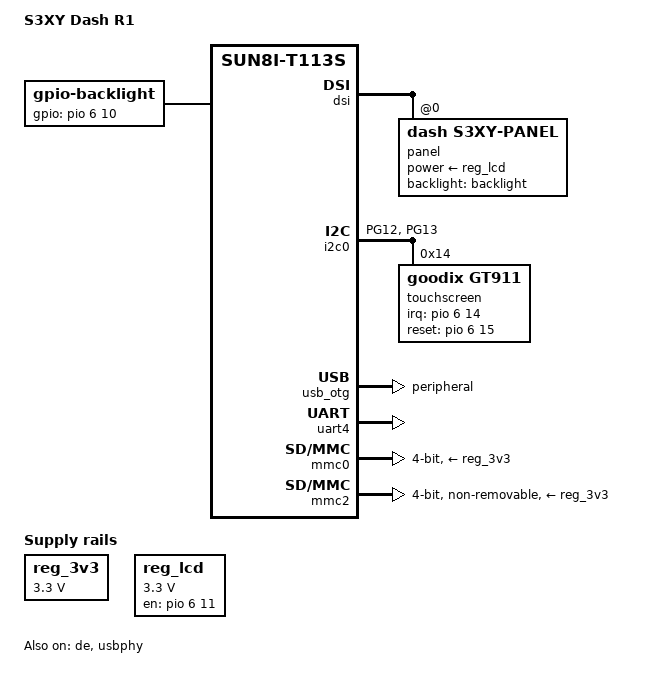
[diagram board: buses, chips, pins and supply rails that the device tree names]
// SPDX-License-Identifier: (GPL-2.0+ OR MIT)
// R1: R0 plus the display (MIPI-DSI panel, backlight), touch and the USB gadget, for the S3XY Dash (T113-S4).
// Display numbers come from the running stock unit (survey display-facts.md); typed by hand. Radios stay off.
// The console UART4 node carries no pinctrl on purpose: the SPL muxes the pins (KCFLAGS -DDASH_U4=n,
// board/dash/patches/uboot), and U-Boot proper and Linux keep them as set. Typed from the survey, not copied.

/dts-v1/;

#include <dt-bindings/gpio/gpio.h>
#include <dt-bindings/interrupt-controller/irq.h>
#include "sun8i-t113s.dtsi"

/ {
	model = "S3XY Dash R1";
	compatible = "dash,s3xy-dash-r1", "allwinner,sun8i-t113s";

	aliases {
		serial0 = &uart4;
		mmc0 = &mmc0;	/* microSD (SMHC0, PF0-PF5) */
		mmc1 = &mmc2;	/* eMMC (SMHC2, PC2-PC7, 4-bit) */
	};

	chosen {
		stdout-path = "serial0:115200n8";
	};

	reg_3v3: regulator-3v3 {
		compatible = "regulator-fixed";
		regulator-name = "vcc-3v3";
		regulator-min-microvolt = <3300000>;
		regulator-max-microvolt = <3300000>;
		regulator-always-on;
	};

	reg_lcd: regulator-lcd {		/* stock lcd_power_en: PG11, high = on */
		compatible = "regulator-fixed";
		regulator-name = "lcd-power";
		regulator-min-microvolt = <3300000>;
		regulator-max-microvolt = <3300000>;
		gpio = <&pio 6 11 GPIO_ACTIVE_HIGH>;
		enable-active-high;
		startup-delay-us = <20000>;
	};

	backlight: backlight {			/* stock lcd_bl_en: PG10. The PWM7 pin (PD22) is left to userspace (gpioset) */
		compatible = "gpio-backlight";
		gpios = <&pio 6 10 GPIO_ACTIVE_HIGH>;
		default-on;
	};
};

&de {
	status = "okay";
};

&dsi {
	pinctrl-0 = <&dsi_4lane_pins>;	/* PD0-PD9, function 4, as stock */
	pinctrl-names = "default";
	#address-cells = <1>;
	#size-cells = <0>;
	status = "okay";

	panel@0 {
		compatible = "dash,s3xy-panel";
		reg = <0>;
		power-supply = <&reg_lcd>;
		/* Panel controller setup (ST7703-family command set), typed from how the stock unit initialises it
		 * (owner decision 2026-11-13, plan: rule 3 relaxed for the panel). Stock does not pulse PG8. */
		dash,init = [
			04 b9 f1 12 87 04 b2 e0 05 78 0b b3 10 10 28 28
			03 ff 00 00 00 00 02 b4 80 03 b5 0d 0d 03 b6 5d
			5d 05 b8 27 22 f0 63 1c ba 33 81 05 f9 0e 0e 20
			00 00 00 00 00 00 00 44 25 00 91 0a 00 00 01 4f
			01 00 00 37 02 bc 47 06 bf 02 10 00 80 04 0a c0
			73 73 50 50 00 00 12 73 00 12 c1 24 00 32 32 77
			e4 77 77 ec ec ff ff 11 11 00 00 32 0d c7 10 00
			0a 00 00 00 00 00 ed c5 00 a5 05 c8 10 40 1e 03
			02 cc 0b 23 e0 00 13 19 25 20 29 4b 3d 07 0d 0e
			12 14 12 14 12 18 00 13 19 25 20 29 4b 3d 07 0d
			0e 12 14 12 14 12 18 08 e1 11 11 91 00 00 00 00
			0f e3 07 07 0b 0b 0b 0b 00 00 00 00 ff 84 c0 10
			40 e9 c8 10 0a 10 0e 80 38 12 31 23 7f 86 80 38
			47 08 00 00 00 00 00 00 00 40 04 00 00 00 88 88
			88 88 88 88 88 88 88 88 88 8f 44 56 70 12 38 ba
			08 88 88 88 00 00 00 01 00 80 38 00 00 00 00 00
			00 3e ea 96 18 00 00 00 b4 01 0b 00 00 00 00 88
			88 88 88 88 88 88 88 88 88 88 f8 43 21 07 65 48
			ba 08 88 88 88 23 00 00 00 b2 00 00 00 00 00 00
			00 00 00 00 00 07 8b 00 00 40 80 81 40 80 81 00
			04 ef ff ff 01 02 11 00 ff fa 02 29 00 ff 32
		];
		backlight = <&backlight>;
	};
};

&pio {
	/* PD22 (stock PWM7, brightness input, active low): left floating = lit. A gpio-hog here broke the pinctrl probe (-22). */

	i2c0_pg_pins: i2c0-pg-pins {	/* stock: PG12/PG13 function 3 while the screen is on */
		pins = "PG12", "PG13";
		function = "i2c0";
	};
};

&i2c0 {
	pinctrl-0 = <&i2c0_pg_pins>;
	pinctrl-names = "default";
	status = "okay";

	touchscreen@14 {		/* stock ctp: gt9xx at 0x14, int PG14, wakeup/reset PG15 */
		compatible = "goodix,gt911";
		reg = <0x14>;
		interrupt-parent = <&pio>;
		interrupts = <6 14 IRQ_TYPE_EDGE_FALLING>;
		irq-gpios = <&pio 6 14 GPIO_ACTIVE_HIGH>;
		reset-gpios = <&pio 6 15 GPIO_ACTIVE_HIGH>;
	};
};

&usb_otg {				/* stock usbc0: usb_port_type 1 (device) */
	dr_mode = "peripheral";
	status = "okay";
};

&usbphy {
	status = "okay";
};

&dcxo {
	clock-frequency = <24000000>;
};

&uart4 {
	status = "okay";
};

&mmc0 {
	pinctrl-0 = <&mmc0_pins>;
	pinctrl-names = "default";
	vmmc-supply = <&reg_3v3>;
	broken-cd;		/* card-detect pin not known yet: poll */
	disable-wp;
	bus-width = <4>;
	status = "okay";
};

&mmc2 {
	pinctrl-0 = <&mmc2_pins>;
	pinctrl-names = "default";
	vmmc-supply = <&reg_3v3>;
	non-removable;
	bus-width = <4>;
	status = "okay";
};
